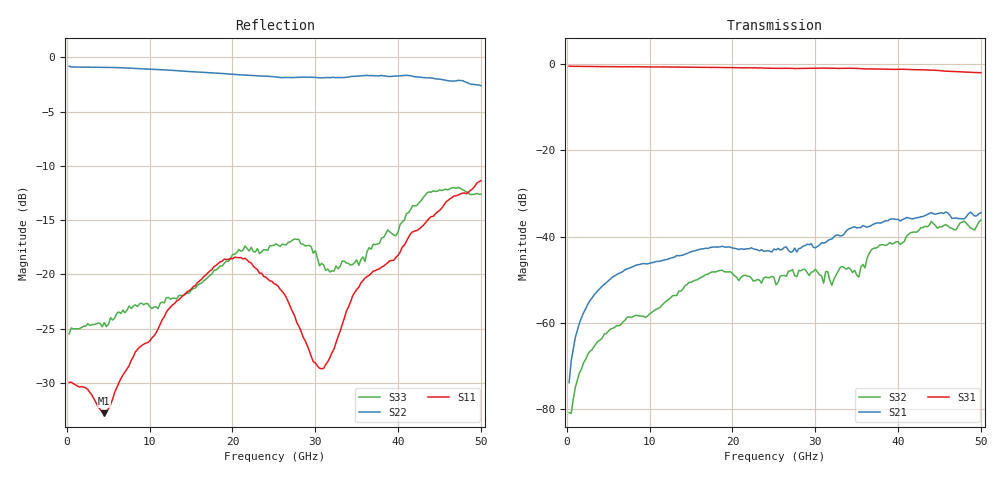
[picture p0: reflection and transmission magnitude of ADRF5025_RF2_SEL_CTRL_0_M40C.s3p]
! Device:  ADRF5025
! Description: Silicon SPDT Switch, Reflective
! Frequency:  9kHz -  44.00 GHz
! Ports:
!  RFC = Port 1
!  RF1 = Port 2
!  RF2 = Port 3
! VDD  =  +3.30 Volts
! VSS  =  -3.30 Volts
! CTRL  =  +0.00 Volts
! Data:  Data was collected using an calibrated 4 port network analyzer
!  using G-S-G Probes on Probe Matrix Board.
!  The reference plane is the package pins of ADRF5025 switch.
! Notes: Analog Devices supplies this data as a sample of measured data
!  for this product.  Your particular data for this product may vary.
!  Data was taken at -40 degrees C.
!  Analog Devices reserves the right to change this data at anytime.
# GHz S  dB  R 50
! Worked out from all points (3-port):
!   200 points, 260 MHz to 50.01 GHz, reference 50 ohm
!   strongest paths, dB at 260 MHz, 12.76 GHz, 25.26 GHz, 37.76 GHz, 50.01 GHz:
!     S31: -0.5, -0.7, -1.0, -1.1, -2.0
!     S21: -73.8, -44.9, -43.1, -36.8, -34.4
!     S32: -80.8, -53.7, -51.2, -42.0, -36.1
!   lowest |S11| = -32.8 dB at 4.51 GHz (marker M1), VSWR 1.05, Z = 49.9 - j2.29 ohm
!   |S11| at or under -10 dB: start of sweep to end of sweep
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0.26  -29.95 -8.3  -74.31 59.2  -0.45 -2.6
      -73.84 58.6  -0.82 177.9  -82.30 35.3
      -0.46 -2.5  -80.80 30.8  -25.49 -5.1
1.51  -30.37 -38.5  -60.03 74.9  -0.50 -13.9
      -60.02 75.0  -0.92 169.0  -71.68 70.5
      -0.51 -13.8  -71.54 62.4  -24.99 -36.3
4.51  -32.79 -90.2  -51.05 57.5  -0.55 -40.9
      -51.02 57.7  -0.93 146.4  -62.81 62.7
      -0.55 -41.0  -62.56 62.8  -24.43 -86.4
10.76  -25.40 173.6  -45.78 19.6  -0.66 -97.3
       -45.76 19.6  -1.13 100.2  -56.89 43.7
       -0.62 -97.3  -56.84 43.5  -22.97 -169.6
17.01  -19.88 131.4  -42.70 -19.4  -0.69 -154.0
       -42.72 -19.1  -1.41 53.5  -48.69 -10.5
       -0.73 -154.1  -48.73 -10.6  -20.28 132.7
25.26  -20.92 65.5  -43.04 -100.5  -0.92 130.3
       -43.07 -100.7  -1.82 -12.6  -51.27 -160.1
       -0.96 130.5  -51.17 -159.8  -17.18 58.2
31.01  -28.66 -58.2  -41.24 -159.8  -1.02 76.9
       -41.46 -160.3  -1.89 -62.3  -50.77 108.0
       -0.91 77.2  -50.78 107.2  -19.13 19.7
38.51  -19.08 -146.6  -36.28 120.5  -1.16 5.8
       -36.27 121.4  -1.72 -125.5  -41.95 70.4
       -1.17 5.5  -42.04 69.7  -16.26 -17.1
44.76  -14.26 -177.2  -34.62 64.7  -1.42 -57.2
       -34.64 64.3  -2.00 -177.2  -38.07 10.8
       -1.43 -57.9  -38.03 10.7  -12.34 -98.5
50.01  -11.36 140.7  -34.38 26.1  -2.00 -111.4
       -34.42 24.9  -2.63 138.3  -36.14 -25.2
       -1.97 -111.7  -36.14 -25.2  -12.61 175.4
